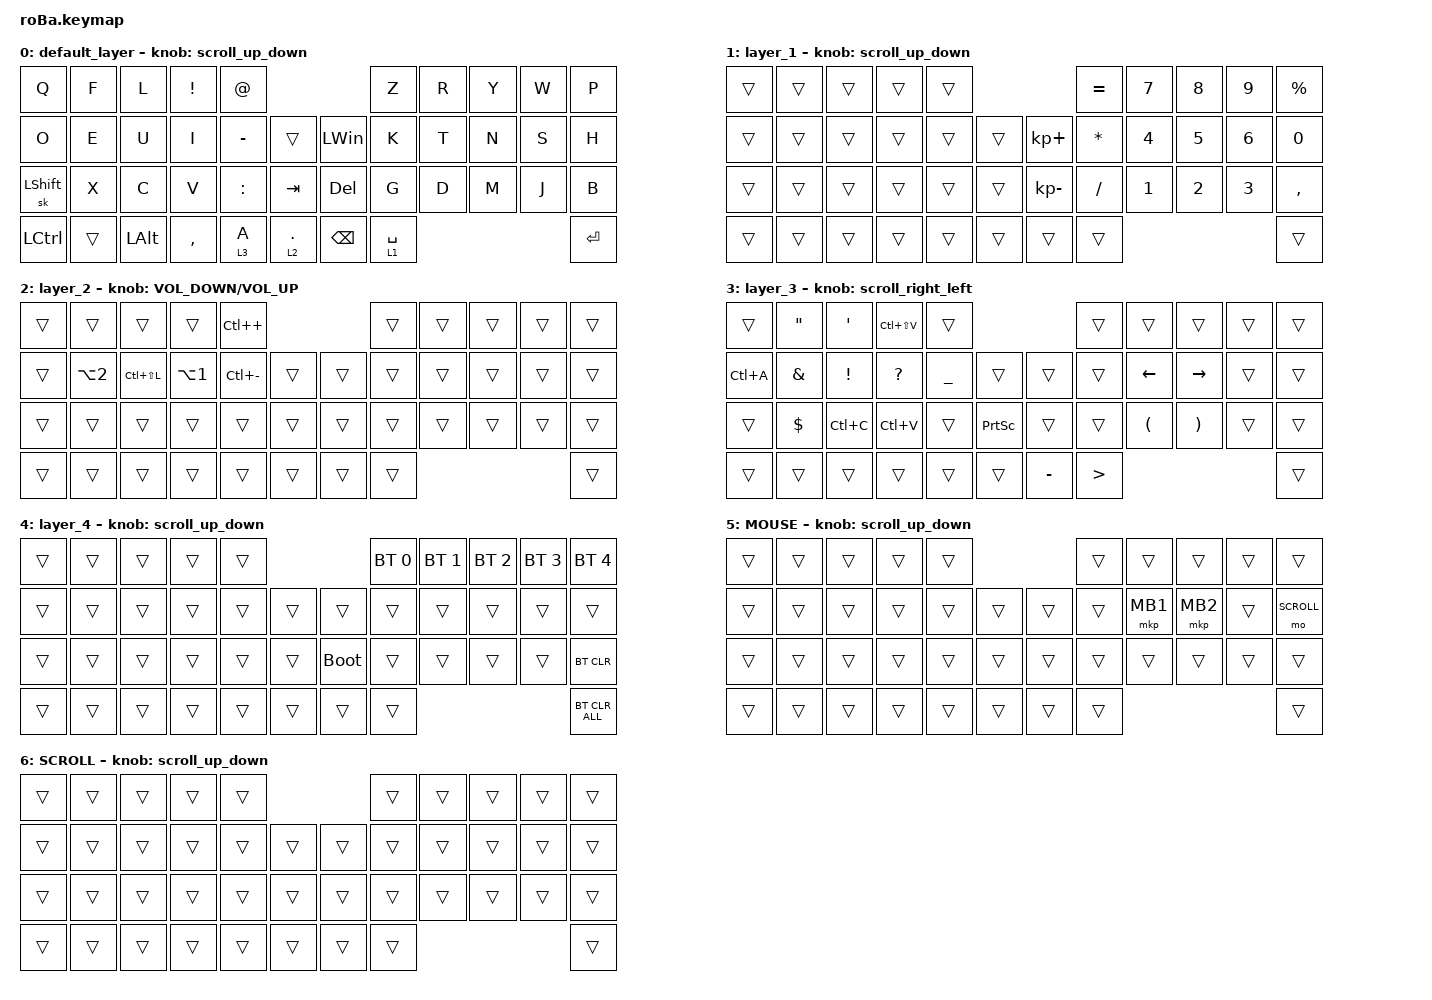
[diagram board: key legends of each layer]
#define ZMK_POINTING_DEFAULT_SCRL_VAL 100

#include <behaviors.dtsi>
#include <dt-bindings/zmk/bt.h>
#include <dt-bindings/zmk/keys.h>
#include <dt-bindings/zmk/pointing.h>

#define MOUSE 5
#define SCROLL 6

&mt {
    flavor = "tap-preferred";
    quick-tap-ms = <0>;
    tapping-term-ms = <150>;
};

&lt {
    quick-tap-ms = <300>;
    flavor = "tap-preferred";
    tapping-term-ms = <175>;
};

&trackball {
    automouse-layer = <MOUSE>;
    scroll-layers = <SCROLL>;
};

/ {
    macros {
        kana_exit_aml: kana_exit_aml {
            compatible = "zmk,behavior-macro";
            wait-ms = <0>;
            tap-ms = <0>;
            #binding-cells = <0>;
            bindings = <&kp LANG1 &tog_off MOUSE>;
        };

        eisu_exit_aml: eisu_exit_aml {
            compatible = "zmk,behavior-macro";
            wait-ms = <0>;
            tap-ms = <0>;
            #binding-cells = <0>;
            bindings = <&kp LANG2 &tog_off MOUSE>;
        };
    };

    combos {
        compatible = "zmk,combos";

        shita {
            bindings = <&kp DOWN>;
            key-positions = <30 31>;
        };

        ue {
            bindings = <&kp UP_ARROW>;
            key-positions = <6 7>;
        };

        ctrlz {
            bindings = <&kp LC(Z)>;
            key-positions = <40 18>;
        };

        escape {
            bindings = <&kp ESCAPE>;
            key-positions = <39 40>;
        };

        combo_lang2 {
            bindings = <&eisu_exit_aml>;
            key-positions = <13 12>;
            layers = <0 MOUSE>;
            timeout-ms = <100>;
        };

        combo_lang1 {
            bindings = <&kana_exit_aml>;
            key-positions = <19 18>;
            layers = <0 MOUSE>;
            timeout-ms = <100>;
        };
    };

    behaviors {
        tog_off: toggle_layer_off {
            compatible = "zmk,behavior-toggle-layer";
            #binding-cells = <1>;
            toggle-mode = "off";
        };

        scroll_up_down: mouse_wheel_up_down {
            compatible = "zmk,behavior-sensor-rotate";
            label = "SCROLL_UP_DOWN";
            #sensor-binding-cells = <0>;
            bindings = <&msc SCRL_DOWN>, <&msc SCRL_UP>;

            tap-ms = <40>;
        };

        scroll_right_left: mouse_wheel_right_left {
            compatible = "zmk,behavior-sensor-rotate";
            label = "SCROLL_RIGHT_LEFT";
            #sensor-binding-cells = <0>;
            bindings = <&msc SCRL_LEFT>, <&msc SCRL_RIGHT>;

            tap-ms = <40>;
        };

        ctrl_zoom: ctrl_zoom {
            compatible = "zmk,behavior-sensor-rotate";
            label = "CTRL_ZOOM";
            #sensor-binding-cells = <0>;
            bindings = <&kp LC(MINUS)>, <&kp LC(EQUAL)>;

            tap-ms = <40>;
        };
    };

    keymap {
        compatible = "zmk,keymap";

        default_layer {
            // roBaish Row1 has 12 keys (extra left thumb at pos 15)
            // moNa2 Row1 has 11 keys
            // pos 15 = extra key on roBaish, mapped to &none (unused)

            bindings = <
&kp Q           &kp F   &kp L         &kp EXCLAMATION  &kp AT_SIGN                                   &kp Z        &kp R  &kp Y  &kp W  &kp P
&kp O           &kp E   &kp U         &kp I            &kp MINUS    &trans            &kp LEFT_WIN   &kp K        &kp T  &kp N  &kp S  &kp H
&sk LEFT_SHIFT  &kp X   &kp C         &kp V            &kp COLON    &kp TAB           &kp DELETE     &kp G        &kp D  &kp M  &kp J  &kp B
&kp LCTRL       &trans  &kp LEFT_ALT  &kp COMMA        &lt 3 A      &lt 2 PERIOD      &kp BACKSPACE  &lt 1 SPACE                       &kp ENTER
            >;

            sensor-bindings = <&scroll_up_down>;
        };

        layer_1 {
            bindings = <
&trans  &trans  &trans  &trans  &trans                            &kp EQUAL  &kp NUMBER_7  &kp NUMBER_8  &kp NUMBER_9  &kp PERCENT
&trans  &trans  &trans  &trans  &trans  &trans      &kp KP_PLUS   &kp ASTRK  &kp NUMBER_4  &kp N5        &kp NUMBER_6  &kp N0
&trans  &trans  &trans  &trans  &trans  &trans      &kp KP_MINUS  &kp SLASH  &kp NUMBER_1  &kp NUMBER_2  &kp NUMBER_3  &kp COMMA
&trans  &trans  &trans  &trans  &trans  &trans      &trans        &trans                                               &trans
            >;

            sensor-bindings = <&scroll_up_down>;
        };

        layer_2 {
            bindings = <
&trans  &trans            &trans         &trans            &kp LC(PLUS)                       &trans  &trans  &trans  &trans  &trans
&trans  &kp LA(NUMBER_2)  &kp LC(LS(L))  &kp LA(NUMBER_1)  &kp LC(MINUS)  &trans      &trans  &trans  &trans  &trans  &trans  &trans
&trans  &trans            &trans         &trans            &trans         &trans      &trans  &trans  &trans  &trans  &trans  &trans
&trans  &trans            &trans         &trans            &trans         &trans      &trans  &trans                          &trans
            >;

            sensor-bindings = <&inc_dec_kp C_VOLUME_DOWN C_VOLUME_UP>;
        };

        layer_3 {
            bindings = <
&trans     &kp DOUBLE_QUOTES  &kp SQT          &kp LC(LS(V))  &trans                                     &trans            &trans                &trans                 &trans  &trans
&kp LC(A)  &kp AMPERSAND      &kp EXCLAMATION  &kp QUESTION   &kp UNDER  &trans               &trans     &trans            &kp LEFT_ARROW        &kp RIGHT              &trans  &trans
&trans     &kp DOLLAR         &kp LC(C)        &kp LC(V)      &trans     &kp PRINTSCREEN      &trans     &trans            &kp LEFT_PARENTHESIS  &kp RIGHT_PARENTHESIS  &trans  &trans
&trans     &trans             &trans           &trans         &trans     &trans               &kp MINUS  &kp GREATER_THAN                                                       &trans
            >;

            sensor-bindings = <&scroll_right_left>;
        };

        layer_4 {
            bindings = <
&trans  &trans  &trans  &trans  &trans                           &bt BT_SEL 0  &bt BT_SEL 1  &bt BT_SEL 2  &bt BT_SEL 3  &bt BT_SEL 4
&trans  &trans  &trans  &trans  &trans  &trans      &trans       &trans        &trans        &trans        &trans        &trans
&trans  &trans  &trans  &trans  &trans  &trans      &bootloader  &trans        &trans        &trans        &trans        &bt BT_CLR
&trans  &trans  &trans  &trans  &trans  &trans      &trans       &trans                                                  &bt BT_CLR_ALL
            >;

            sensor-bindings = <&scroll_up_down>;
        };

        MOUSE {
            bindings = <
&trans  &trans  &trans  &trans  &trans                      &trans  &trans    &trans    &trans  &trans
&trans  &trans  &trans  &trans  &trans  &trans      &trans  &trans  &mkp MB1  &mkp MB2  &trans  &mo SCROLL
&trans  &trans  &trans  &trans  &trans  &trans      &trans  &trans  &trans    &trans    &trans  &trans
&trans  &trans  &trans  &trans  &trans  &trans      &trans  &trans                              &trans
            >;

            sensor-bindings = <&scroll_up_down>;
        };

        SCROLL {
            bindings = <
&trans  &trans  &trans  &trans  &trans                      &trans  &trans  &trans  &trans  &trans
&trans  &trans  &trans  &trans  &trans  &trans      &trans  &trans  &trans  &trans  &trans  &trans
&trans  &trans  &trans  &trans  &trans  &trans      &trans  &trans  &trans  &trans  &trans  &trans
&trans  &trans  &trans  &trans  &trans  &trans      &trans  &trans                          &trans
            >;

            sensor-bindings = <&scroll_up_down>;
        };
    };
};
